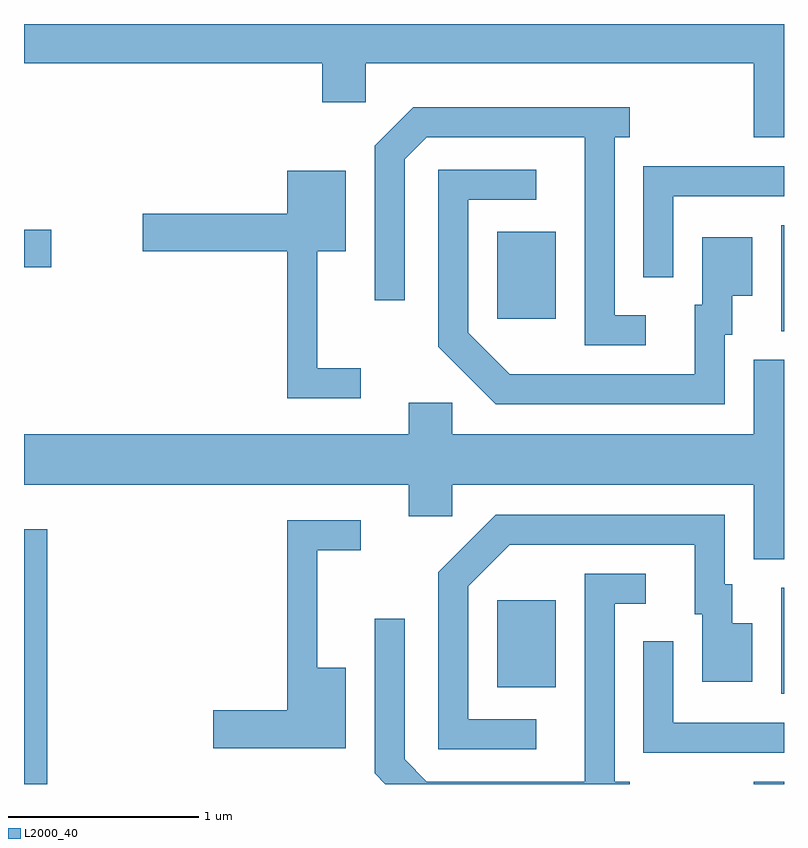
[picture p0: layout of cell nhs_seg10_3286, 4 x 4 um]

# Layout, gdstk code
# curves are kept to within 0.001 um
import gdstk
lib = gdstk.Library(unit=1e-6, precision=1e-09)
def R(c, l, rs):  # rectangles x0, y0, x1, y1
    for r in rs: c.add(gdstk.rectangle(r[:2], r[2:], *l))
def P(c, l, *ps):  # polygons
    for p in ps: c.add(gdstk.Polygon(p, *l))
L2000_40 = (2000, 40)

nhs_seg10_3286 = lib.new_cell('nhs_seg10_3286')
R(nhs_seg10_3286, L2000_40, [(281.611,2154.522,281.734,2155.864), (285.451,2154.522,285.611,2154.534), (285.596,2154.996,285.611,2155.554), (284.101,2155.031,284.409,2155.489), (285.596,2156.906,285.611,2157.464), (284.101,2156.971,284.409,2157.429), (281.611,2157.241,281.754,2157.439)])
P(nhs_seg10_3286, L2000_40, [(285.611,2158.522),(281.611,2158.522),(281.611,2158.316),(283.181,2158.316),(283.181,2158.111),(283.409,2158.111),(283.409,2158.316),(285.451,2158.316),(285.451,2157.926),(285.611,2157.926)],
  [(284.883,2156.989),(284.719,2156.989),(284.719,2157.926),(284.798,2157.926),(284.798,2158.084),(283.659,2158.084),(283.456,2157.882),(283.456,2157.068),(283.614,2157.068),(283.614,2157.809),(283.732,2157.926),(284.561,2157.926),(284.561,2156.831),(284.883,2156.831)],
  [(285.029,2157.616),(285.611,2157.616),(285.611,2157.774),(284.871,2157.774),(284.871,2157.188),(285.029,2157.188)],
  [(285.299,2156.886),(285.339,2156.886),(285.339,2157.091),(285.444,2157.091),(285.444,2157.399),(285.181,2157.399),(285.181,2157.044),(285.141,2157.044),(285.141,2156.679),(284.167,2156.679),(283.949,2156.897),(283.949,2157.596),(284.308,2157.596),(284.308,2157.754),(283.791,2157.754),(283.791,2156.824),(284.094,2156.521),(285.299,2156.521)],
  [(283.383,2156.709),(283.154,2156.709),(283.154,2157.326),(283.304,2157.326),(283.304,2157.749),(282.996,2157.749),(282.996,2157.524),(282.236,2157.524),(282.236,2157.326),(282.996,2157.326),(282.996,2156.551),(283.383,2156.551)],
  [(283.636,2156.529),(283.636,2156.364),(281.611,2156.364),(281.611,2156.096),(283.636,2156.096),(283.636,2155.931),(283.864,2155.931),(283.864,2156.096),(285.451,2156.096),(285.451,2155.706),(285.611,2155.706),(285.611,2156.754),(285.451,2156.754),(285.451,2156.364),(283.864,2156.364),(283.864,2156.529)],
  [(284.308,2154.864),(283.949,2154.864),(283.949,2155.564),(284.167,2155.781),(285.141,2155.781),(285.141,2155.416),(285.181,2155.416),(285.181,2155.061),(285.444,2155.061),(285.444,2155.369),(285.339,2155.369),(285.339,2155.574),(285.299,2155.574),(285.299,2155.939),(284.094,2155.939),(283.791,2155.637),(283.791,2154.706),(284.308,2154.706)],
  [(283.304,2155.134),(283.154,2155.134),(283.154,2155.751),(283.383,2155.751),(283.383,2155.909),(282.996,2155.909),(282.996,2154.909),(282.606,2154.909),(282.606,2154.711),(283.304,2154.711)],
  [(284.798,2154.534),(284.719,2154.534),(284.719,2155.471),(284.883,2155.471),(284.883,2155.629),(284.561,2155.629),(284.561,2154.534),(283.732,2154.534),(283.614,2154.652),(283.614,2155.393),(283.456,2155.393),(283.456,2154.579),(283.513,2154.522),(284.798,2154.522)],
  [(285.611,2154.844),(285.029,2154.844),(285.029,2155.273),(284.871,2155.273),(284.871,2154.686),(285.611,2154.686)])

lib.write_gds('nhs_seg10_3286.gds')
